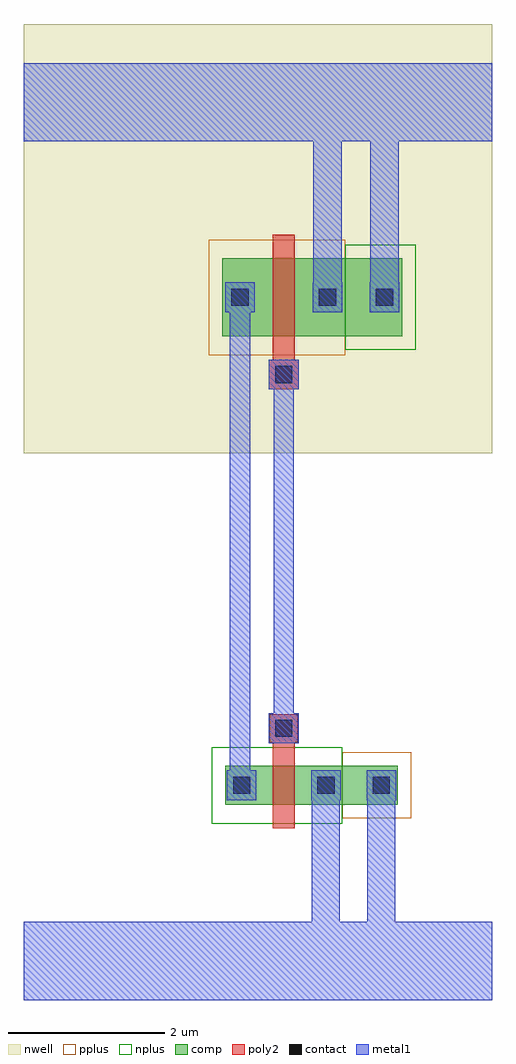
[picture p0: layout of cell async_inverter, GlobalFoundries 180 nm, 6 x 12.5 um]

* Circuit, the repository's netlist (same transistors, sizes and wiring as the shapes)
.subckt async_inverter OUT INPUT VDD VSS
M5 OUT INPUT VDD VDD pfet_03v3 L=0.28u W=1.0u
M6 OUT INPUT VSS VSS nfet_03v3 L=0.28u W=0.50u
.ends async_inverter
.end

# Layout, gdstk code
import gdstk
lib = gdstk.Library(unit=1e-6, precision=1e-09)
def R(c, l, rs):  # rectangles x0, y0, x1, y1
    for r in rs: c.add(gdstk.rectangle(r[:2], r[2:], *l))
nwell = (21, 0)
comp = (22, 0)
poly2 = (30, 0)
pplus = (31, 0)
nplus = (32, 0)
contact = (33, 0)
metal1 = (34, 0)

gf180mcu_nfet_l_0_280_w_ = lib.new_cell('gf180mcu.nfet(L=0.280,W=0.500)')

gf180mcu_pfet_l_0_280_w_ = lib.new_cell('gf180mcu.pfet(L=0.280,W=1.000)')

async_inverter = lib.new_cell('async_inverter')
R(async_inverter, nwell, [(0,4.5,6,10), (0,4.5,6,10), (0,4.5,6,10), (1.85,5.31,5.54,7.69), (1.85,5.31,5.54,7.69), (1.85,5.31,5.54,7.69)])
R(async_inverter, comp, [(2.58,0,3,0.5), (2.58,0,3,0.5), (2.58,0,3,0.5), (3,0,3.66,0.5), (3,0,3.66,0.5), (3,0,3.66,0.5), (3.66,0,4.08,0.5), (3.66,0,4.08,0.5), (3.66,0,4.08,0.5), (4.08,0,4.79,0.5), (4.08,0,4.79,0.5), (4.08,0,4.79,0.5), (2.54,6,3,7), (2.54,6,3,7), (2.54,6,3,7), (3,6,3.66,7), (3,6,3.66,7), (3,6,3.66,7), (3.66,6,4.12,7), (3.66,6,4.12,7), (3.66,6,4.12,7), (4.12,6,4.85,7), (4.12,6,4.85,7), (4.12,6,4.85,7)])
R(async_inverter, poly2, [(3.19,-0.3,3.47,0.8), (3.19,-0.3,3.47,0.8), (3.19,-0.3,3.47,0.8), (3.15,0.8,3.51,1.16), (3.15,0.8,3.51,1.16), (3.15,0.8,3.51,1.16), (3.14,5.32,3.52,5.7), (3.14,5.32,3.52,5.7), (3.14,5.32,3.52,5.7), (3.19,5.7,3.47,7.3), (3.19,5.7,3.47,7.3), (3.19,5.7,3.47,7.3)])
R(async_inverter, pplus, [(4.08,-0.17,4.96,0.67), (4.08,-0.17,4.96,0.67), (4.08,-0.17,4.96,0.67), (2.37,5.76,4.12,7.24), (2.37,5.76,4.12,7.24), (2.37,5.76,4.12,7.24)])
R(async_inverter, nplus, [(2.41,-0.24,4.08,0.74), (2.41,-0.24,4.08,0.74), (2.41,-0.24,4.08,0.74), (4.12,5.83,5.02,7.17), (4.12,5.83,5.02,7.17), (4.12,5.83,5.02,7.17)])
R(async_inverter, contact, [(2.68,0.14,2.9,0.36), (2.68,0.14,2.9,0.36), (2.68,0.14,2.9,0.36), (3.76,0.14,3.98,0.36), (3.76,0.14,3.98,0.36), (3.76,0.14,3.98,0.36), (4.47,0.14,4.69,0.36), (4.47,0.14,4.69,0.36), (4.47,0.14,4.69,0.36), (3.22,0.87,3.44,1.09), (3.22,0.87,3.44,1.09), (3.22,0.87,3.44,1.09), (3.22,5.4,3.44,5.62), (3.22,5.4,3.44,5.62), (3.22,5.4,3.44,5.62), (2.66,6.39,2.88,6.61), (2.66,6.39,2.88,6.61), (2.66,6.39,2.88,6.61), (3.78,6.39,4,6.61), (3.78,6.39,4,6.61), (3.78,6.39,4,6.61), (4.51,6.39,4.73,6.61), (4.51,6.39,4.73,6.61), (4.51,6.39,4.73,6.61)])
R(async_inverter, metal1, [(0,-2.5,6,-1.5), (0,-2.5,6,-1.5), (0,-2.5,6,-1.5), (3.69,-2.5,4.05,0.25), (3.69,-2.5,4.05,0.25), (3.69,-2.5,4.05,0.25), (4.4,-2.5,4.76,0.25), (4.4,-2.5,4.76,0.25), (4.4,-2.5,4.76,0.25), (2.6,0.06,2.98,0.44), (2.6,0.06,2.98,0.44), (2.6,0.06,2.98,0.44), (3.68,0.06,4.06,0.44), (3.68,0.06,4.06,0.44), (3.68,0.06,4.06,0.44), (4.39,0.06,4.77,0.44), (4.39,0.06,4.77,0.44), (4.39,0.06,4.77,0.44), (2.64,0.12,2.9,6.63), (2.64,0.12,2.9,6.63), (2.64,0.12,2.9,6.63), (3.14,0.79,3.52,1.17), (3.14,0.79,3.52,1.17), (3.14,0.79,3.52,1.17), (3.2,0.85,3.46,5.64), (3.2,0.85,3.46,5.64), (3.2,0.85,3.46,5.64), (3.14,5.32,3.52,5.7), (3.14,5.32,3.52,5.7), (3.14,5.32,3.52,5.7), (2.58,6.31,2.96,6.69), (2.58,6.31,2.96,6.69), (2.58,6.31,2.96,6.69), (3.7,6.31,4.08,6.69), (3.7,6.31,4.08,6.69), (3.7,6.31,4.08,6.69), (4.43,6.31,4.81,6.69), (4.43,6.31,4.81,6.69), (4.43,6.31,4.81,6.69), (3.71,6.5,4.07,9.5), (3.71,6.5,4.07,9.5), (3.71,6.5,4.07,9.5), (4.44,6.5,4.8,9.5), (4.44,6.5,4.8,9.5), (4.44,6.5,4.8,9.5), (0,8.5,6,9.5), (0,8.5,6,9.5), (0,8.5,6,9.5)])
async_inverter.add(gdstk.Reference(gf180mcu_nfet_l_0_280_w_, (0,0)))
async_inverter.add(gdstk.Reference(gf180mcu_pfet_l_0_280_w_, (0,0)))

lib.write_gds('async_inverter.gds')
